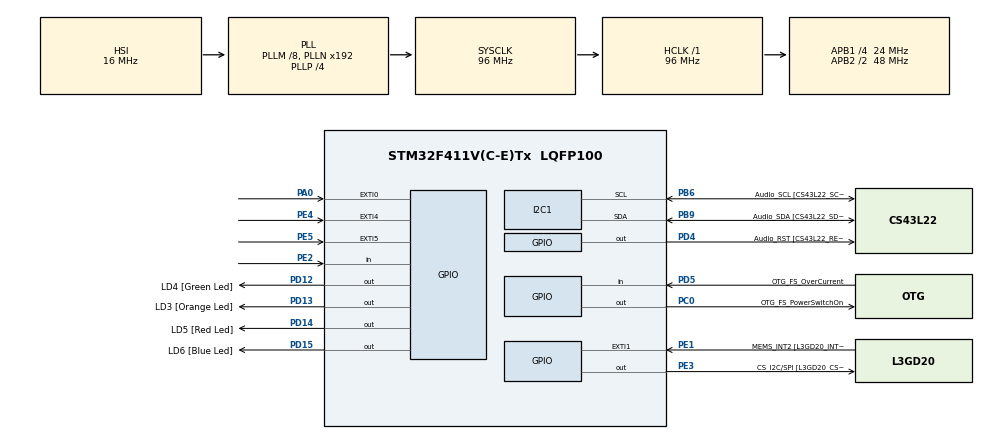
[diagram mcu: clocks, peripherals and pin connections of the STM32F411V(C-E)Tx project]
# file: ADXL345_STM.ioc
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I2C1.I2C_Mode=I2C_Fast
Mcu.Family=STM32F4
Mcu.Name=STM32F411V(C-E)Tx
Mcu.Package=LQFP100
NVIC.PriorityGroup=NVIC_PRIORITYGROUP_0
PA0-WKUP.GPIO_ModeDefaultEXTI=GPIO_MODE_EVT_RISING
PA0-WKUP.Signal=GPXTI0
PA10.GPIO_Label=OTG_FS_ID
PA10.Signal=USB_OTG_FS_ID
PA11.GPIO_Label=OTG_FS_DM
PA11.Signal=USB_OTG_FS_DM
PA12.GPIO_Label=OTG_FS_DP
PA12.Signal=USB_OTG_FS_DP
PA13.GPIO_Label=SWDIO
PA13.Signal=SYS_JTMS-SWDIO
PA14.GPIO_Label=SWCLK
PA14.Signal=SYS_JTCK-SWCLK
PA4.GPIO_Label=I2S3_WS [CS43L22_LRCK]
PA4.GPIO_Mode=GPIO_MODE_AF_PP
PA4.GPIO_PuPd=GPIO_NOPULL
PA4.GPIO_Speed=GPIO_SPEED_FREQ_LOW
PA4.Signal=I2S3_WS
PA5.GPIO_Label=SPI1_SCK [L3GD20_SC/SPC]
PA5.Signal=SPI1_SCK
PA6.GPIO_Label=SPI1_MISO [L3GD20_AS0/SDO]
PA6.Signal=SPI1_MISO
PA7.GPIO_Label=SPI1_MOSI [L3GD20_SDA/SDI/SDO]
PA7.Signal=SPI1_MOSI
PA9.GPIO_Label=VBUS_FS
PA9.Signal=USB_OTG_FS_VBUS
PB10.GPIO_Label=CLK_IN [MP45DT02_CLK]
PB10.Signal=I2S2_CK
PB12.Signal=I2S2_WS
PB3.GPIO_Label=SWO
PB3.Signal=SYS_JTDO-SWO
PB6.GPIO_Label=Audio_SCL [CS43L22_SCL]
PB6.GPIO_Mode=GPIO_MODE_AF_OD
PB6.GPIO_PuPd=GPIO_NOPULL
PB6.GPIO_Speed=GPIO_SPEED_FREQ_LOW
PB6.Mode=I2C
PB6.Signal=I2C1_SCL
PB9.GPIO_Label=Audio_SDA [CS43L22_SDA]
PB9.GPIO_Mode=GPIO_MODE_AF_OD
PB9.GPIO_PuPd=GPIO_NOPULL
PB9.GPIO_Speed=GPIO_SPEED_FREQ_LOW
PB9.Mode=I2C
PB9.Signal=I2C1_SDA
PC0.GPIO_Label=OTG_FS_PowerSwitchOn
PC0.PinState=GPIO_PIN_SET
PC0.Signal=GPIO_Output
PC10.GPIO_Label=I2S3_SCK [CS43L22_SCLK]
PC10.GPIO_Mode=GPIO_MODE_AF_PP
PC10.GPIO_PuPd=GPIO_NOPULL
PC10.GPIO_Speed=GPIO_SPEED_FREQ_LOW
PC10.Signal=I2S3_CK
PC12.GPIO_Label=I2S3_SD [CS43L22_SDIN]
PC12.GPIO_Mode=GPIO_MODE_AF_PP
PC12.GPIO_PuPd=GPIO_NOPULL
PC12.GPIO_Speed=GPIO_SPEED_FREQ_LOW
PC12.Signal=I2S3_SD
PC14-OSC32_IN.GPIO_Label=PC14-OSC32_IN
PC14-OSC32_IN.Signal=RCC_OSC32_IN
PC15-OSC32_OUT.GPIO_Label=PC15-OSC32_OUT
PC15-OSC32_OUT.Signal=RCC_OSC32_OUT
PC3.GPIO_Label=PDM_OUT [MP45DT02_DOUT]
PC3.Signal=I2S2_SD
PC7.GPIO_Label=I2S3_MCK [CS43L22_MCLK]
PC7.GPIO_Mode=GPIO_MODE_AF_PP
PC7.GPIO_PuPd=GPIO_NOPULL
PC7.GPIO_Speed=GPIO_SPEED_FREQ_LOW
PC7.Signal=I2S3_MCK
PD12.GPIO_Label=LD4 [Green Led]
PD12.GPIO_PuPd=GPIO_NOPULL
PD12.GPIO_Speed=GPIO_SPEED_FREQ_LOW
PD12.Signal=GPIO_Output
PD13.GPIO_Label=LD3 [Orange Led]
PD13.GPIO_PuPd=GPIO_NOPULL
PD13.GPIO_Speed=GPIO_SPEED_FREQ_LOW
PD13.Signal=GPIO_Output
PD14.GPIO_Label=LD5 [Red Led]
PD14.GPIO_PuPd=GPIO_NOPULL
PD14.GPIO_Speed=GPIO_SPEED_FREQ_LOW
PD14.Signal=GPIO_Output
PD15.GPIO_Label=LD6 [Blue Led]
PD15.GPIO_PuPd=GPIO_NOPULL
PD15.GPIO_Speed=GPIO_SPEED_FREQ_LOW
PD15.Signal=GPIO_Output
PD4.GPIO_Label=Audio_RST [CS43L22_RESET]
PD4.Signal=GPIO_Output
PD5.GPIO_Label=OTG_FS_OverCurrent
PD5.Signal=GPIO_Input
PE1.GPIO_Label=MEMS_INT2 [L3GD20_INT2]
PE1.GPIO_ModeDefaultEXTI=GPIO_MODE_EVT_RISING
PE1.Signal=GPXTI1
PE2.Signal=GPIO_Input
PE3.GPIO_Label=CS_I2C/SPI [L3GD20_CS_I2C/SPI]
PE3.Signal=GPIO_Output
PE4.GPIO_ModeDefaultEXTI=GPIO_MODE_EVT_RISING
PE4.Signal=GPXTI4
PE5.GPIO_ModeDefaultEXTI=GPIO_MODE_EVT_RISING
PE5.Signal=GPXTI5
PH0\ -\ OSC_IN.GPIO_Label=PH0-OSC_IN
PH0\ -\ OSC_IN.Signal=RCC_OSC_IN
PH1\ -\ OSC_OUT.GPIO_Label=PH1-OSC_OUT
PH1\ -\ OSC_OUT.Signal=RCC_OSC_OUT
ProjectManager.HeapSize=0x200
ProjectManager.StackSize=0x400
ProjectManager.TargetToolchain=STM32CubeIDE
RCC.48MHZClocksFreq_Value=48000000
RCC.AHBFreq_Value=96000000
RCC.APB1CLKDivider=RCC_HCLK_DIV4
RCC.APB1Freq_Value=24000000
RCC.APB1TimFreq_Value=48000000
RCC.APB2CLKDivider=RCC_HCLK_DIV2
RCC.APB2Freq_Value=48000000
RCC.APB2TimFreq_Value=96000000
RCC.CortexFreq_Value=96000000
RCC.HCLKFreq_Value=96000000
RCC.HSE_VALUE=8000000
RCC.HSI_VALUE=16000000
RCC.LSE_VALUE=32768
RCC.PLLI2SM=5
RCC.PLLI2SN=200
RCC.PLLM=8
RCC.PLLP=RCC_PLLP_DIV4
RCC.PLLQ=8
RCC.SYSCLKFreq_VALUE=96000000
RCC.SYSCLKSource=RCC_SYSCLKSOURCE_PLLCLK
RCC.VCOOutputFreq_Value=384000000
board=STM32F411E-DISCO

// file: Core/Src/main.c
/* USER CODE BEGIN Header */
/**
  ******************************************************************************
  * @file           : main.c
  * @brief          : Main program body
  ******************************************************************************
  * @attention
  *
  * Copyright (c) 2025 STMicroelectronics.
  * All rights reserved.
  *
  * This software is licensed under terms that can be found in the LICENSE file
  * in the root directory of this software component.
  * If no LICENSE file comes with this software, it is provided AS-IS.
  *
  ******************************************************************************
  */
/* USER CODE END Header */
#include "main.h"

I2C_HandleTypeDef hi2c1;

void SystemClock_Config(void);
static void MX_GPIO_Init(void);
static void MX_I2C1_Init(void);

/* USER CODE BEGIN 0 */
#define ADXL_Address 0xA6
uint8_t RxData[10];
float xg, yg, zg;

void ADXL_Write_Reg (uint8_t Reg, uint8_t Byte)
{
	HAL_I2C_Mem_Write(&hi2c1, ADXL_Address, Reg, 1, &Byte, 1, 100);
}

void ADXL_Read (uint8_t Reg, uint8_t *Buffer, size_t len)
{
	HAL_I2C_Mem_Read (&hi2c1, ADXL_Address, Reg, 1, Buffer, len, 2000);
}

void ADXL_Init (void)
{
	uint8_t chipID=0;
	ADXL_Read(0x00, &chipID, 1);
	if (chipID == 0xE5)
	{
		ADXL_Write_Reg (0x2d, 0x00);  // reset all bits; standby
		ADXL_Write_Reg (0x2d, 0x08);  // measure=1 and wake up 8hz
		ADXL_Write_Reg (0x31, 0x01);  // 10bit data, range= +- 4g
	}

	else Error_Handler();
}
/* USER CODE END 0 */

int main(void)
{

  /* MCU Configuration--------------------------------------------------------*/

  /* Reset of all peripherals, Initializes the Flash interface and the Systick. */
  HAL_Init();

  /* Configure the system clock */
  SystemClock_Config();

  /* Initialize all configured peripherals */
  MX_GPIO_Init();
  MX_I2C1_Init();
  /* USER CODE BEGIN 2 */
  ADXL_Init();  // initialize adxl
  /* USER CODE END 2 */

  /* Infinite loop */
  while (1)
  {

    /* USER CODE BEGIN 3 */
	  ADXL_Read(0x32, RxData, 6);
	  int16_t RAWX = ((RxData[1]<<8)|RxData[0]);
	  int16_t RAWY = ((RxData[3]<<8)|RxData[2]);
	  int16_t RAWZ = ((RxData[5]<<8)|RxData[4]);

	  xg = RAWX * .0078;
	  yg = RAWY * .0078;
	  zg = RAWZ * .0078;

	  HAL_Delay (500);
  }
  /* USER CODE END 3 */
}

void SystemClock_Config(void)
{
  RCC_OscInitTypeDef RCC_OscInitStruct = {0};
  RCC_ClkInitTypeDef RCC_ClkInitStruct = {0};

  /** Configure the main internal regulator output voltage
  */
  __HAL_RCC_PWR_CLK_ENABLE();
  __HAL_PWR_VOLTAGESCALING_CONFIG(PWR_REGULATOR_VOLTAGE_SCALE1);

  /** Initializes the RCC Oscillators according to the specified parameters
  * in the RCC_OscInitTypeDef structure.
  */
  RCC_OscInitStruct.OscillatorType = RCC_OSCILLATORTYPE_HSI;
  RCC_OscInitStruct.HSIState = RCC_HSI_ON;
  RCC_OscInitStruct.HSICalibrationValue = RCC_HSICALIBRATION_DEFAULT;
  RCC_OscInitStruct.PLL.PLLState = RCC_PLL_ON;
  RCC_OscInitStruct.PLL.PLLSource = RCC_PLLSOURCE_HSI;
  RCC_OscInitStruct.PLL.PLLM = 8;
  RCC_OscInitStruct.PLL.PLLN = 192;
  RCC_OscInitStruct.PLL.PLLP = RCC_PLLP_DIV4;
  RCC_OscInitStruct.PLL.PLLQ = 8;
  if (HAL_RCC_OscConfig(&RCC_OscInitStruct) != HAL_OK)
  {
    Error_Handler();
  }

  /** Initializes the CPU, AHB and APB buses clocks
  */
  RCC_ClkInitStruct.ClockType = RCC_CLOCKTYPE_HCLK|RCC_CLOCKTYPE_SYSCLK
                              |RCC_CLOCKTYPE_PCLK1|RCC_CLOCKTYPE_PCLK2;
  RCC_ClkInitStruct.SYSCLKSource = RCC_SYSCLKSOURCE_PLLCLK;
  RCC_ClkInitStruct.AHBCLKDivider = RCC_SYSCLK_DIV1;
  RCC_ClkInitStruct.APB1CLKDivider = RCC_HCLK_DIV4;
  RCC_ClkInitStruct.APB2CLKDivider = RCC_HCLK_DIV2;

  if (HAL_RCC_ClockConfig(&RCC_ClkInitStruct, FLASH_LATENCY_3) != HAL_OK)
  {
    Error_Handler();
  }
}

static void MX_I2C1_Init(void)
{

  hi2c1.Instance = I2C1;
  hi2c1.Init.ClockSpeed = 400000;
  hi2c1.Init.DutyCycle = I2C_DUTYCYCLE_2;
  hi2c1.Init.OwnAddress1 = 0;
  hi2c1.Init.AddressingMode = I2C_ADDRESSINGMODE_7BIT;
  hi2c1.Init.DualAddressMode = I2C_DUALADDRESS_DISABLE;
  hi2c1.Init.OwnAddress2 = 0;
  hi2c1.Init.GeneralCallMode = I2C_GENERALCALL_DISABLE;
  hi2c1.Init.NoStretchMode = I2C_NOSTRETCH_DISABLE;
  if (HAL_I2C_Init(&hi2c1) != HAL_OK)
  {
    Error_Handler();
  }

}

static void MX_GPIO_Init(void)
{
  GPIO_InitTypeDef GPIO_InitStruct = {0};

  /* GPIO Ports Clock Enable */
  __HAL_RCC_GPIOE_CLK_ENABLE();
  __HAL_RCC_GPIOC_CLK_ENABLE();
  __HAL_RCC_GPIOH_CLK_ENABLE();
  __HAL_RCC_GPIOA_CLK_ENABLE();
  __HAL_RCC_GPIOB_CLK_ENABLE();
  __HAL_RCC_GPIOD_CLK_ENABLE();

  /*Configure GPIO pin Output Level */
  HAL_GPIO_WritePin(CS_I2C_SPI_GPIO_Port, CS_I2C_SPI_Pin, GPIO_PIN_RESET);

  /*Configure GPIO pin Output Level */
  HAL_GPIO_WritePin(OTG_FS_PowerSwitchOn_GPIO_Port, OTG_FS_PowerSwitchOn_Pin, GPIO_PIN_SET);

  /*Configure GPIO pin Output Level */
  HAL_GPIO_WritePin(GPIOD, LD4_Pin|LD3_Pin|LD5_Pin|LD6_Pin
                          |Audio_RST_Pin, GPIO_PIN_RESET);

  /*Configure GPIO pin : PE2 */
  GPIO_InitStruct.Pin = GPIO_PIN_2;
  GPIO_InitStruct.Mode = GPIO_MODE_INPUT;
  GPIO_InitStruct.Pull = GPIO_NOPULL;
  HAL_GPIO_Init(GPIOE, &GPIO_InitStruct);

  /*Configure GPIO pin : CS_I2C_SPI_Pin */
  GPIO_InitStruct.Pin = CS_I2C_SPI_Pin;
  GPIO_InitStruct.Mode = GPIO_MODE_OUTPUT_PP;
  GPIO_InitStruct.Pull = GPIO_NOPULL;
  GPIO_InitStruct.Speed = GPIO_SPEED_FREQ_LOW;
  HAL_GPIO_Init(CS_I2C_SPI_GPIO_Port, &GPIO_InitStruct);

  /*Configure GPIO pins : PE4 PE5 MEMS_INT2_Pin */
  GPIO_InitStruct.Pin = GPIO_PIN_4|GPIO_PIN_5|MEMS_INT2_Pin;
  GPIO_InitStruct.Mode = GPIO_MODE_EVT_RISING;
  GPIO_InitStruct.Pull = GPIO_NOPULL;
  HAL_GPIO_Init(GPIOE, &GPIO_InitStruct);

  /*Configure GPIO pin : OTG_FS_PowerSwitchOn_Pin */
  GPIO_InitStruct.Pin = OTG_FS_PowerSwitchOn_Pin;
  GPIO_InitStruct.Mode = GPIO_MODE_OUTPUT_PP;
  GPIO_InitStruct.Pull = GPIO_NOPULL;
  GPIO_InitStruct.Speed = GPIO_SPEED_FREQ_LOW;
  HAL_GPIO_Init(OTG_FS_PowerSwitchOn_GPIO_Port, &GPIO_InitStruct);

  /*Configure GPIO pin : PDM_OUT_Pin */
  GPIO_InitStruct.Pin = PDM_OUT_Pin;
  GPIO_InitStruct.Mode = GPIO_MODE_AF_PP;
  GPIO_InitStruct.Pull = GPIO_NOPULL;
  GPIO_InitStruct.Speed = GPIO_SPEED_FREQ_LOW;
  GPIO_InitStruct.Alternate = GPIO_AF5_SPI2;
  HAL_GPIO_Init(PDM_OUT_GPIO_Port, &GPIO_InitStruct);

  /*Configure GPIO pin : PA0 */
  GPIO_InitStruct.Pin = GPIO_PIN_0;
  GPIO_InitStruct.Mode = GPIO_MODE_EVT_RISING;
  GPIO_InitStruct.Pull = GPIO_NOPULL;
  HAL_GPIO_Init(GPIOA, &GPIO_InitStruct);

  /*Configure GPIO pin : I2S3_WS_Pin */
  GPIO_InitStruct.Pin = I2S3_WS_Pin;
  GPIO_InitStruct.Mode = GPIO_MODE_AF_PP;
  GPIO_InitStruct.Pull = GPIO_NOPULL;
  GPIO_InitStruct.Speed = GPIO_SPEED_FREQ_LOW;
  GPIO_InitStruct.Alternate = GPIO_AF6_SPI3;
  HAL_GPIO_Init(I2S3_WS_GPIO_Port, &GPIO_InitStruct);

  /*Configure GPIO pins : SPI1_SCK_Pin SPI1_MISO_Pin SPI1_MOSI_Pin */
  GPIO_InitStruct.Pin = SPI1_SCK_Pin|SPI1_MISO_Pin|SPI1_MOSI_Pin;
  GPIO_InitStruct.Mode = GPIO_MODE_AF_PP;
  GPIO_InitStruct.Pull = GPIO_NOPULL;
  GPIO_InitStruct.Speed = GPIO_SPEED_FREQ_VERY_HIGH;
  GPIO_InitStruct.Alternate = GPIO_AF5_SPI1;
  HAL_GPIO_Init(GPIOA, &GPIO_InitStruct);

  /*Configure GPIO pins : CLK_IN_Pin PB12 */
  GPIO_InitStruct.Pin = CLK_IN_Pin|GPIO_PIN_12;
  GPIO_InitStruct.Mode = GPIO_MODE_AF_PP;
  GPIO_InitStruct.Pull = GPIO_NOPULL;
  GPIO_InitStruct.Speed = GPIO_SPEED_FREQ_LOW;
  GPIO_InitStruct.Alternate = GPIO_AF5_SPI2;
  HAL_GPIO_Init(GPIOB, &GPIO_InitStruct);

  /*Configure GPIO pins : LD4_Pin LD3_Pin LD5_Pin LD6_Pin
                           Audio_RST_Pin */
  GPIO_InitStruct.Pin = LD4_Pin|LD3_Pin|LD5_Pin|LD6_Pin
                          |Audio_RST_Pin;
  GPIO_InitStruct.Mode = GPIO_MODE_OUTPUT_PP;
  GPIO_InitStruct.Pull = GPIO_NOPULL;
  GPIO_InitStruct.Speed = GPIO_SPEED_FREQ_LOW;
  HAL_GPIO_Init(GPIOD, &GPIO_InitStruct);

  /*Configure GPIO pins : I2S3_MCK_Pin I2S3_SCK_Pin I2S3_SD_Pin */
  GPIO_InitStruct.Pin = I2S3_MCK_Pin|I2S3_SCK_Pin|I2S3_SD_Pin;
  GPIO_InitStruct.Mode = GPIO_MODE_AF_PP;
  GPIO_InitStruct.Pull = GPIO_NOPULL;
  GPIO_InitStruct.Speed = GPIO_SPEED_FREQ_LOW;
  GPIO_InitStruct.Alternate = GPIO_AF6_SPI3;
  HAL_GPIO_Init(GPIOC, &GPIO_InitStruct);

  /*Configure GPIO pin : VBUS_FS_Pin */
  GPIO_InitStruct.Pin = VBUS_FS_Pin;
  GPIO_InitStruct.Mode = GPIO_MODE_INPUT;
  GPIO_InitStruct.Pull = GPIO_NOPULL;
  HAL_GPIO_Init(VBUS_FS_GPIO_Port, &GPIO_InitStruct);

  /*Configure GPIO pins : OTG_FS_ID_Pin OTG_FS_DM_Pin OTG_FS_DP_Pin */
  GPIO_InitStruct.Pin = OTG_FS_ID_Pin|OTG_FS_DM_Pin|OTG_FS_DP_Pin;
  GPIO_InitStruct.Mode = GPIO_MODE_AF_PP;
  GPIO_InitStruct.Pull = GPIO_NOPULL;
  GPIO_InitStruct.Speed = GPIO_SPEED_FREQ_VERY_HIGH;
  GPIO_InitStruct.Alternate = GPIO_AF10_OTG_FS;
  HAL_GPIO_Init(GPIOA, &GPIO_InitStruct);

  /*Configure GPIO pin : OTG_FS_OverCurrent_Pin */
  GPIO_InitStruct.Pin = OTG_FS_OverCurrent_Pin;
  GPIO_InitStruct.Mode = GPIO_MODE_INPUT;
  GPIO_InitStruct.Pull = GPIO_NOPULL;
  HAL_GPIO_Init(OTG_FS_OverCurrent_GPIO_Port, &GPIO_InitStruct);

}

void Error_Handler(void)
{
  __disable_irq();
  while (1)
  {
  }
}
